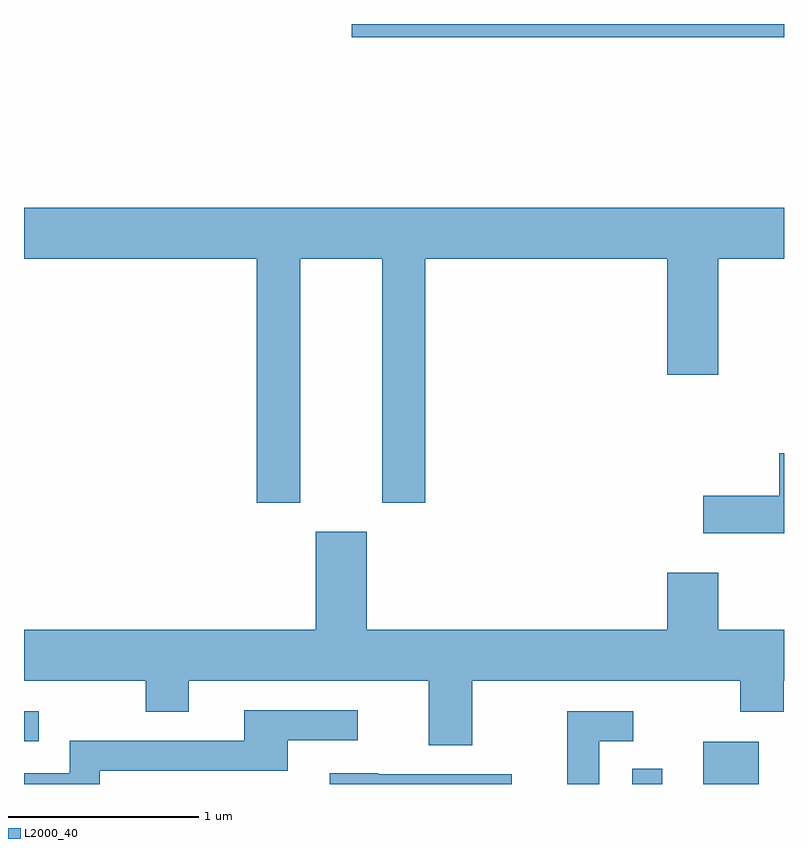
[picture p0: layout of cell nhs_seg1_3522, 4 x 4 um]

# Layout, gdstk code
import gdstk
lib = gdstk.Library(unit=1e-6, precision=1e-09)
def R(c, l, rs):  # rectangles x0, y0, x1, y1
    for r in rs: c.add(gdstk.rectangle(r[:2], r[2:], *l))
def P(c, l, *ps):  # polygons
    for p in ps: c.add(gdstk.Polygon(p, *l))
L2000_40 = (2000, 40)

nhs_seg1_3522 = lib.new_cell('nhs_seg1_3522')
R(nhs_seg1_3522, L2000_40, [(294.811,885.712,294.969,885.793), (295.186,885.712,295.479,885.934), (291.611,885.936,291.688,886.094), (293.336,889.641,295.611,889.712)])
P(nhs_seg1_3522, L2000_40, [(293.064,888.476),(293.496,888.476),(293.496,887.191),(293.724,887.191),(293.724,888.476),(294.996,888.476),(294.996,887.866),(295.264,887.866),(295.264,888.476),(295.611,888.476),(295.611,888.744),(291.611,888.744),(291.611,888.476),(292.836,888.476),(292.836,887.191),(293.064,887.191)],
  [(295.611,887.454),(295.586,887.454),(295.586,887.229),(295.186,887.229),(295.186,887.031),(295.611,887.031)],
  [(293.969,886.256),(295.381,886.256),(295.381,886.091),(295.609,886.091),(295.609,886.256),(295.611,886.256),(295.611,886.524),(295.264,886.524),(295.264,886.824),(294.996,886.824),(294.996,886.524),(293.414,886.524),(293.414,887.039),(293.146,887.039),(293.146,886.524),(291.611,886.524),(291.611,886.256),(292.251,886.256),(292.251,886.091),(292.479,886.091),(292.479,886.256),(293.741,886.256),(293.741,885.916),(293.969,885.916)],
  [(292.009,885.781),(292.999,885.781),(292.999,885.941),(293.368,885.941),(293.368,886.099),(292.771,886.099),(292.771,885.939),(291.851,885.939),(291.851,885.769),(291.611,885.769),(291.611,885.712),(292.009,885.712)],
  [(294.639,885.936),(294.818,885.936),(294.818,886.094),(294.471,886.094),(294.471,885.712),(294.639,885.712)],
  [(294.179,885.764),(293.475,885.764),(293.475,885.769),(293.221,885.769),(293.221,885.712),(294.179,885.712)])

lib.write_gds('nhs_seg1_3522.gds')
